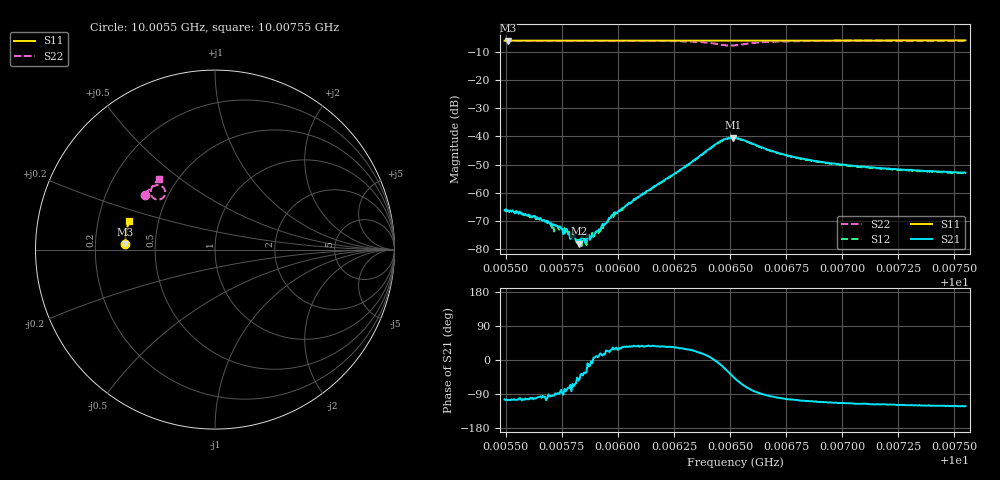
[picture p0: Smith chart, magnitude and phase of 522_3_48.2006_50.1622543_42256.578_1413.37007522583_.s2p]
#  HZ  S  RI  R  50.00
! Rohde & Schwarz Vector Network Analyzer
! Rohde-Schwarz,ZNB20-2Port,1311601062101988,3.16
! Created: UTC 3/20/2024, 11:59:32 AM
! freq[Hz]  re:S11  im:S11  re:S21  im:S21  re:S12  im:S12  re:S22  im:S22
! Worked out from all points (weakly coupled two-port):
!   401 points, 10.0055 GHz to 10.00755 GHz, reference 50 ohm
!   highest |S21| = -40.44 dB at 10.00651 GHz (marker M1); lowest = -78.1 dB at 10.00583 GHz (marker M2)
!   lowest |S11| = -6.0 dB at 10.00551 GHz (marker M3), VSWR 3.01, Z = 16.6 + j1.32 ohm
!   |S11| at or under -10 dB: nowhere
!   |S22| runs from -7.8 to -6.0 dB; largest |S21 - S12| = 0.00058
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1.0005496e10  -0.5003 0.0288  -0.000119 -0.000473  -0.000109 -0.000487  -0.3909 0.3061
1.0005511e10  -0.5002 0.0298  -0.00013 -0.000462  -7.82e-05 -0.000477  -0.3903 0.307
1.0005557e10  -0.5003 0.0327  -0.000102 -0.000411  -6.62e-05 -0.000444  -0.3882 0.3097
1.0005681e10  -0.4999 0.041  -8.49e-05 -0.000298  -2.98e-05 -0.000303  -0.3826 0.3172
1.0005711e10  -0.4998 0.0429  -1.79e-05 -0.000278  7.26e-07 -0.000276  -0.3813 0.319
1.0005737e10  -0.4997 0.0447  5.29e-06 -0.000245  -3.04e-05 -0.000221  -0.3799 0.3205
1.0005794e10  -0.4994 0.0482  2.18e-05 -0.000162  9.66e-05 -0.000169  -0.377 0.3241
1.0005819e10  -0.4993 0.0501  8.78e-05 -9.21e-05  8.19e-05 -0.000121  -0.3756 0.3258
1.0005829e10  -0.4992 0.0506  7.96e-05 -9.57e-05  0.000108 -0.0001  -0.3752 0.3263
1.000584e10  -0.4994 0.0513  0.000133 -9.97e-05  9.44e-05 -6.09e-05  -0.3744 0.3269
1.000585e10  -0.4991 0.0519  0.000124 -7.93e-05  0.000135 -4.91e-05  -0.3739 0.3276
1.0005886e10  -0.4989 0.0543  0.000168 -2.42e-05  0.000192 -2.57e-05  -0.3719 0.3298
1.0005922e10  -0.4988 0.0566  0.000214 6.8e-05  0.0002 4.8e-05  -0.3698 0.3322
1.0005983e10  -0.4984 0.0606  0.000393 0.000206  0.00032 0.000225  -0.3657 0.3364
1.0006184e10  -0.4971 0.0736  0.00118 0.000848  0.00111 0.000897  -0.3483 0.3506
1.000645e10  -0.4942 0.0906  0.00782 -0.00119  0.00768 -0.000759  -0.2789 0.3292
1.0006512e10  -0.4935 0.0941  0.00695 -0.00649  0.00716 -0.00598  -0.2958 0.284
1.0006522e10  -0.4933 0.0947  0.0062 -0.0071  0.00647 -0.0066  -0.3036 0.2803
1.0006717e10  -0.492 0.107  -0.000869 -0.00499  -0.00064 -0.00494  -0.3581 0.3251
1.0006866e10  -0.4902 0.1165  -0.00121 -0.00352  -0.00107 -0.00351  -0.3515 0.3465
1.000721e10  -0.4853 0.1382  -0.00124 -0.00238  -0.0011 -0.00237  -0.3327 0.3726
1.0007549e10  -0.4795 0.1594  -0.00118 -0.00192  -0.00108 -0.00195  -0.3147 0.3907
